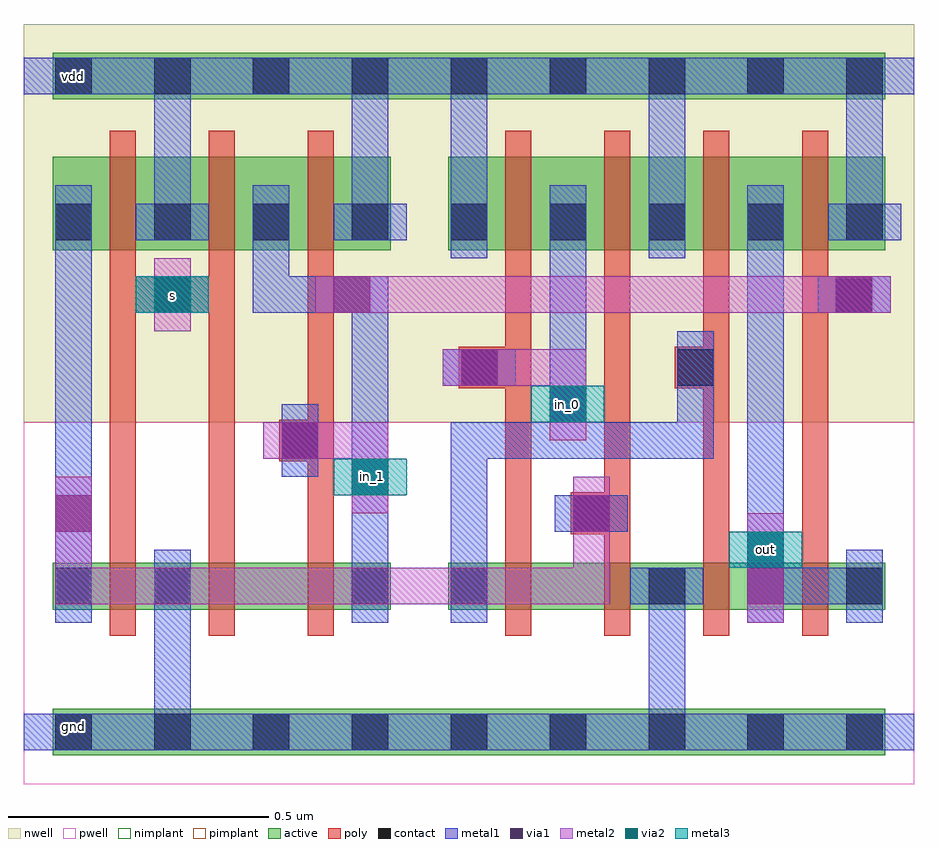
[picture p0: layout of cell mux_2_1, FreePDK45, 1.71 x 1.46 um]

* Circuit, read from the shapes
.subckt mux_2_1 gnd in_0 in_1 out s vdd
M1 gnd s n1 gnd nfet w=0.09u l=0.05u
M2 n2 s gnd gnd nfet w=0.09u l=0.05u
M3 n3 in_1 n2 gnd nfet w=0.09u l=0.05u
M4 n4 in_0 n5 gnd nfet w=0.09u l=0.05u
M5 gnd n1 n4 gnd nfet w=0.09u l=0.05u
M6 n6 n5 gnd gnd nfet w=0.09u l=0.05u
M7 out n3 n6 gnd nfet w=0.09u l=0.05u
M8 vdd s n1 vdd pfet w=0.18u l=0.05u
M9 n3 s vdd vdd pfet w=0.18u l=0.05u
M10 vdd in_1 n3 vdd pfet w=0.18u l=0.05u
M11 n5 in_0 vdd vdd pfet w=0.18u l=0.05u
M12 vdd n1 n5 vdd pfet w=0.18u l=0.05u
M13 out n5 vdd vdd pfet w=0.18u l=0.05u
M14 vdd n3 out vdd pfet w=0.18u l=0.05u
.ends

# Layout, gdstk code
import gdstk
lib = gdstk.Library(unit=1e-6, precision=5e-10)
def R(c, l, rs):  # rectangles x0, y0, x1, y1
    for r in rs: c.add(gdstk.rectangle(r[:2], r[2:], *l))
def A(c, l, x, y, w, h, nx, ny, dx, dy):  # array of equal rectangles
    R(c, l, [(x+i*dx, y+j*dy, x+i*dx+w, y+j*dy+h) for i in range(nx) for j in range(ny)])
active = (1, 0)
pwell = (2, 0)
nwell = (3, 0)
nimplant = (4, 0)
pimplant = (5, 0)
poly = (9, 0)
contact = (10, 0)
metal1 = (11, 0)
via1 = (12, 0)
metal2 = (13, 0)
via2 = (14, 0)
metal3 = (15, 0)

mux_2_1 = lib.new_cell('mux_2_1')
R(mux_2_1, active, [(0.055,-0.045,1.655,0.045), (0.055,0.235,0.705,0.325), (0.815,0.235,1.655,0.325), (0.055,0.925,0.705,1.105), (0.815,0.925,1.655,1.105), (0.055,1.215,1.655,1.305)])
R(mux_2_1, pwell, [(0,-0.1,1.71,0.595)])
R(mux_2_1, nwell, [(0,0.595,1.71,1.36)])
R(mux_2_1, nimplant, [(0.055,0.235,0.705,0.325), (0.815,0.235,1.655,0.325), (0.055,1.215,1.655,1.305)])
R(mux_2_1, pimplant, [(0.055,-0.045,1.655,0.045), (0.055,0.925,0.705,1.105), (0.815,0.925,1.655,1.105)])
A(mux_2_1, poly, 0.165, 0.185, 0.05, 0.97, 3, 1, 0.19, 0)
A(mux_2_1, poly, 0.925, 0.185, 0.05, 0.97, 4, 1, 0.19, 0)
R(mux_2_1, poly, [(1.05,0.38,1.115,0.46), (0.49,0.52,0.545,0.6), (0.835,0.66,0.925,0.74), (1.25,0.66,1.305,0.74), (0.215,0.805,0.355,0.875), (1.545,0.805,1.63,0.875)])
A(mux_2_1, contact, 0.06, -0.035, 0.07, 0.07, 9, 2, 0.19, 0.98)
A(mux_2_1, contact, 0.82, 0.245, 0.07, 0.07, 3, 1, 0.38, 0)
A(mux_2_1, contact, 0.06, 1.225, 0.07, 0.07, 9, 1, 0.19, 0)
R(mux_2_1, contact, [(0.06,0.245,0.13,0.315), (0.25,0.245,0.32,0.315), (0.63,0.245,0.7,0.315), (1.055,0.385,1.125,0.455), (0.495,0.525,0.565,0.595), (0.84,0.665,0.91,0.735), (1.255,0.665,1.325,0.735), (0.25,0.805,0.32,0.87), (1.56,0.805,1.63,0.87)])
R(mux_2_1, metal1, [(0,-0.035,1.71,0.035), (0.25,0.035,0.32,0.35), (1.2,0.035,1.27,0.245), (0.06,0.21,0.13,1.05), (0.63,0.21,0.7,0.805), (0.82,0.21,0.89,0.525), (1.39,0.21,1.46,1.05), (1.58,0.21,1.65,0.35), (1.165,0.245,1.305,0.315), (1.46,0.245,1.58,0.315), (1.02,0.385,1.16,0.455), (0.495,0.49,0.565,0.63), (0.82,0.525,1.255,0.595), (1.255,0.525,1.325,0.77), (1.01,0.595,1.08,1.05), (0.805,0.665,0.945,0.735), (0.215,0.805,0.355,0.875), (0.44,0.805,0.7,0.875), (1.525,0.805,1.665,0.875), (0.44,0.875,0.51,1.05), (0.82,0.91,0.89,1.225), (1.2,0.91,1.27,1.225), (0.215,0.945,0.355,1.015), (0.595,0.945,0.735,1.015), (1.545,0.945,1.685,1.015), (0.25,1.015,0.32,1.225), (0.63,1.015,0.7,1.225), (1.58,1.015,1.65,1.225), (0,1.225,1.71,1.295)])
R(mux_2_1, via1, [(1.39,0.245,1.46,0.315), (0.06,0.385,0.13,0.455), (1.055,0.385,1.125,0.455), (0.495,0.525,0.565,0.595), (0.84,0.665,0.91,0.735), (0.25,0.805,0.32,0.875), (0.595,0.805,0.665,0.875), (1.56,0.805,1.63,0.875)])
R(mux_2_1, metal2, [(1.39,0.21,1.46,0.42), (0.06,0.245,1.125,0.315), (0.06,0.315,0.13,0.49), (1.055,0.315,1.125,0.49), (0.63,0.42,0.7,0.525), (0.46,0.525,0.7,0.595), (1.01,0.56,1.08,0.735), (0.805,0.665,1.01,0.735), (0.25,0.77,0.32,0.91), (0.56,0.805,1.665,0.875)])
R(mux_2_1, via2, [(1.39,0.315,1.46,0.385), (0.63,0.455,0.7,0.525), (1.01,0.595,1.08,0.665), (0.25,0.805,0.32,0.875)])
R(mux_2_1, metal3, [(1.355,0.315,1.495,0.385), (0.595,0.455,0.735,0.525), (0.975,0.595,1.115,0.665), (0.215,0.805,0.355,0.875)])
mux_2_1.add(gdstk.Label('vdd', (0.095,1.26), layer=11, texttype=0))
mux_2_1.add(gdstk.Label('gnd', (0.095,0.01), layer=11, texttype=0))
mux_2_1.add(gdstk.Label('in_1', (0.67,0.49), layer=15, texttype=0))
mux_2_1.add(gdstk.Label('out', (1.425,0.35), layer=15, texttype=0))
mux_2_1.add(gdstk.Label('s', (0.285,0.8375), layer=15, texttype=0))
mux_2_1.add(gdstk.Label('in_0', (1.045,0.63), layer=15, texttype=0))

lib.write_gds('mux_2_1.gds')
